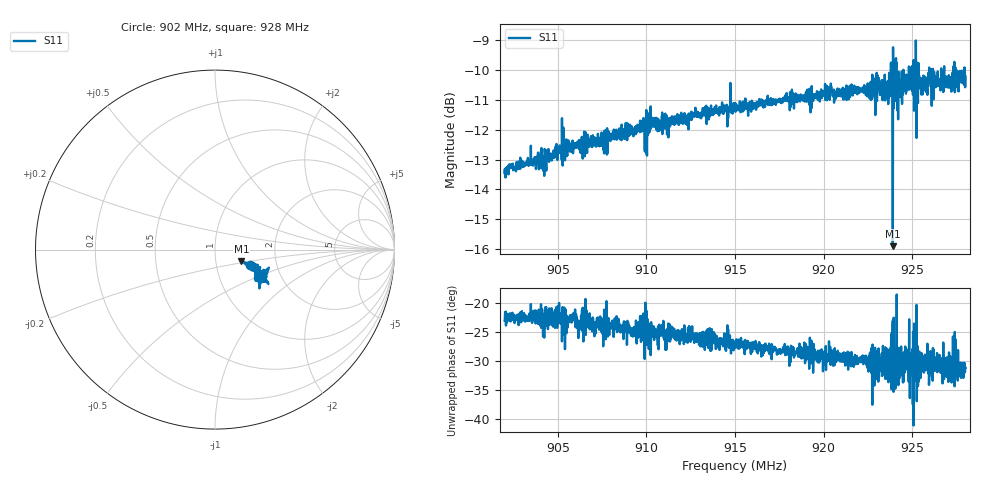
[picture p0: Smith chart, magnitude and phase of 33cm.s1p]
! Calibrated averaged scanner-service zoom
# Hz S RI R 50
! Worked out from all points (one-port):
!   2001 points, 902 MHz to 928 MHz, reference 50 ohm
!   lowest |S11| = -15.9 dB at 923.9 MHz (marker M1), VSWR 1.38, Z = 66.7 - j8.58 ohm
!   |S11| at or under -10 dB: start of sweep to 923.79 MHz; 924.1262 MHz to 924.8131 MHz (687 kHz wide, 0.0743 % of centre); 925.3655 MHz to 925.9553 MHz (589.8 kHz wide, 0.0637 % of centre)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
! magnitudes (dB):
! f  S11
! 902 MHz  -13.4
! 903.35 MHz  -13.2
! 904.22 MHz  -12.9
! 905.25 MHz  -12.9
! 906.34 MHz  -12.6
! 908.5 MHz  -12.3
! 909.76 MHz  -11.7
! 909.98 MHz  -11.7
! 910.33 MHz  -11.6
! 910.68 MHz  -12.0
! 911.75 MHz  -11.5
! 915 MHz  -11.4
! 918.25 MHz  -10.8
! 921.5 MHz  -10.8
! 922.76 MHz  -10.4
! 923.61 MHz  -10.5
! 923.75 MHz  -10.9
! 923.77 MHz  -10.3
! 923.9 MHz  -15.9
! 924.02 MHz  -10.6
! 924.05 MHz  -10.2
! 924.2 MHz  -11.7
! 924.27 MHz  -10.5
! 924.75 MHz  -10.4
! 925.09 MHz  -10.2
! 925.36 MHz  -9.8
! 926 MHz  -10.0
! 928 MHz  -10.2
